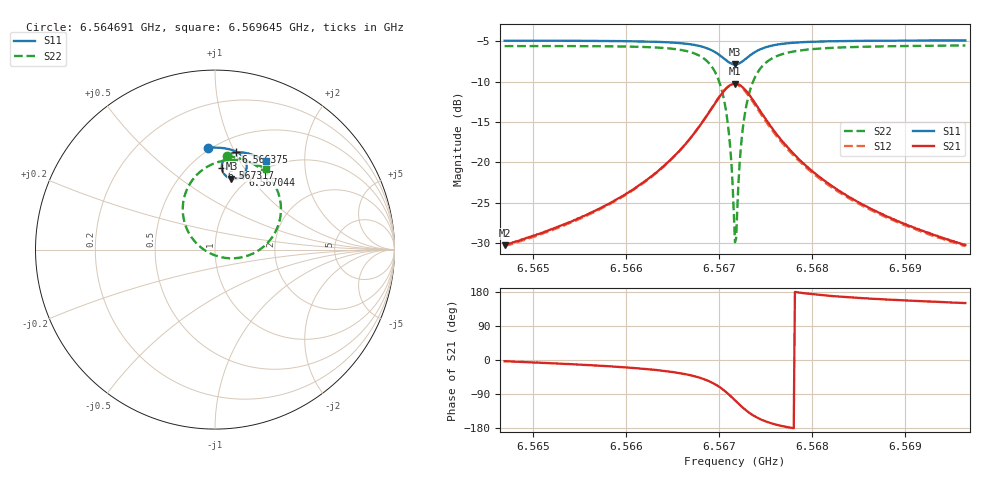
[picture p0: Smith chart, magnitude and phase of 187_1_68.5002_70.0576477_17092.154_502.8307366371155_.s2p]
#  HZ  S  RI  R  50.00
! Rohde & Schwarz Vector Network Analyzer
! Rohde-Schwarz,ZNB20-2Port,1311601062101988,3.16
! Created: UTC 3/20/2024, 5:12:04 PM
! freq[Hz]  re:S11  im:S11  re:S21  im:S21  re:S12  im:S12  re:S22  im:S22
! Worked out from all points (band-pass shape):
!   401 points, 6.564691 GHz to 6.569645 GHz, reference 50 ohm
!   highest |S21| = -10.23 dB at 6.567168 GHz (marker M1); lowest = -30.3 dB at 6.564691 GHz (marker M2)
!   |S21| within 3 dB of the highest: 6.566921 GHz to 6.567416 GHz (494.8 kHz wide, 0.00753 % of centre)
!   lowest |S11| = -7.9 dB at 6.567168 GHz (marker M3), VSWR 2.36, Z = 42.6 + j40.2 ohm
!   |S11| at or under -10 dB: nowhere
!   |S22| runs from -29.9 to -5.5 dB; largest |S21 - S12| = 0.015
!   S11 on the Smith chart (normalised r, x): 6.564691 GHz: 0.48, +0.81; 6.566375 GHz: 0.64, +1.01; 6.567044 GHz: 0.91, +0.94; 6.567317 GHz: 0.70, +0.80; 6.569645 GHz: 0.89, +1.31
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6.5646907e9  -0.0369 0.5678  0.0305 -0.00178  0.0301 -0.0023  0.0644 0.5223
6.5655206e9  0.0324 0.5668  0.0449 -0.00998  0.044 -0.0104  0.147 0.5052
6.5663505e9  0.1135 0.5475  0.0795 -0.0408  0.0784 -0.0417  0.267 0.4402
6.5663752e9  0.1163 0.546  0.0813 -0.043  0.0801 -0.0439  0.272 0.4359
6.5666477e9  0.15 0.5231  0.1042 -0.0816  0.1026 -0.0832  0.3328 0.36
6.5668459e9  0.1731 0.4858  0.1164 -0.1472  0.1135 -0.1502  0.3674 0.2337
6.5669574e9  0.1748 0.4489  0.101 -0.2114  0.0952 -0.2157  0.3425 0.111
6.5670441e9  0.1571 0.4146  0.0527 -0.27  0.0428 -0.2731  0.2537 0.00288
6.5670812e9  0.1416 0.4023  0.0182 -0.2899  0.0059 -0.2912  0.1883 -0.0318
6.567106e9  0.1286 0.3964  -0.00969 -0.2984  -0.0229 -0.2977  0.1372 -0.0452
6.5671555e9  0.0991 0.3932  -0.0711 -0.2992  -0.085 -0.2937  0.0265 -0.0404
6.5671679e9  0.0915 0.3945  -0.0867 -0.2955  -0.1 -0.2888  -0.000519 -0.032
6.5671803e9  0.0843 0.3966  -0.1015 -0.2904  -0.1146 -0.2826  -0.0266 -0.021
6.5671927e9  0.0772 0.3995  -0.116 -0.2838  -0.1282 -0.2748  -0.0511 -0.00721
6.5672299e9  0.0589 0.4124  -0.1535 -0.2569  -0.1629 -0.2453  -0.1129 0.0455
6.5672546e9  0.0498 0.4232  -0.1723 -0.2346  -0.1798 -0.222  -0.1428 0.0871
6.5673166e9  0.0384 0.4532  -0.198 -0.1755  -0.2004 -0.1627  -0.1781 0.1941
6.5674157e9  0.0448 0.4934  -0.1951 -0.098  -0.1929 -0.0887  -0.1592 0.3284
6.5675643e9  0.0725 0.5254  -0.1598 -0.0356  -0.1563 -0.0303  -0.0836 0.4331
6.5679978e9  0.1408 0.5421  -0.0877 0.0095  -0.0854 0.0109  0.0734 0.4988
6.5688277e9  0.2219 0.5239  -0.0426 0.0162  -0.0416 0.0164  0.2056 0.4835
6.5696451e9  0.2839 0.495  -0.0266 0.0152  -0.0261 0.0154  0.2818 0.4506
